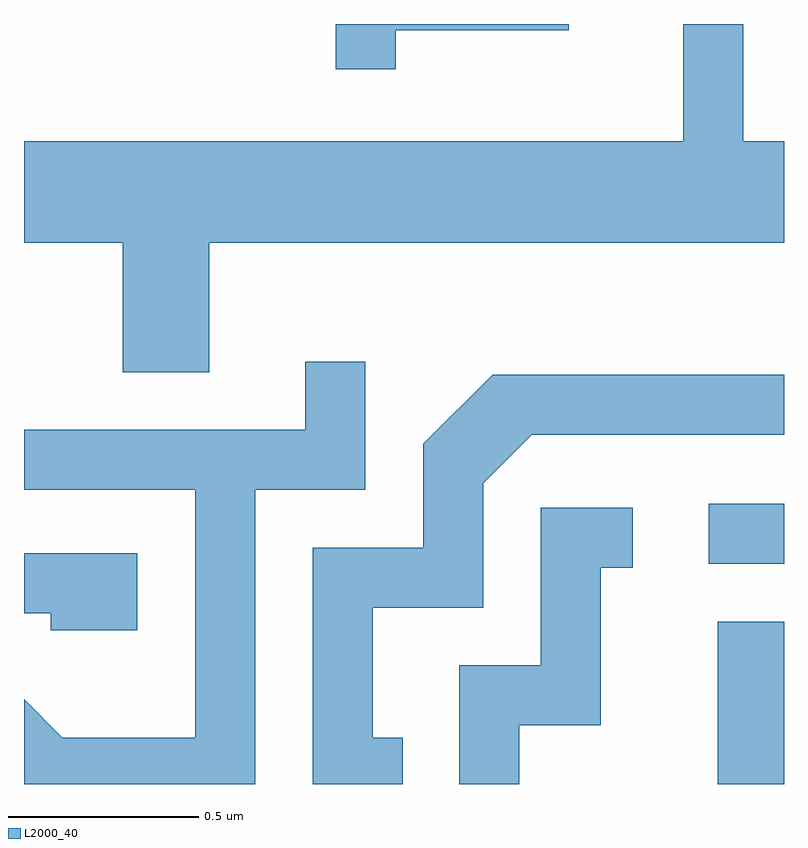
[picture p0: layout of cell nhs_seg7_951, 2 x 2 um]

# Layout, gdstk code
import gdstk
lib = gdstk.Library(unit=1e-6, precision=1e-09)
def R(c, l, rs):  # rectangles x0, y0, x1, y1
    for r in rs: c.add(gdstk.rectangle(r[:2], r[2:], *l))
def P(c, l, *ps):  # polygons
    for p in ps: c.add(gdstk.Polygon(p, *l))
L2000_40 = (2000, 40)

nhs_seg7_951 = lib.new_cell('nhs_seg7_951')
R(nhs_seg7_951, L2000_40, [(193.436,1797.252,193.611,1797.679), (193.413,1797.831,193.611,1797.989)])
P(nhs_seg7_951, L2000_40, [(192.099,1798.676),(193.611,1798.676),(193.611,1798.944),(193.504,1798.944),(193.504,1799.252),(193.346,1799.252),(193.346,1798.944),(191.611,1798.944),(191.611,1798.676),(191.871,1798.676),(191.871,1798.336),(192.099,1798.336)],
  [(192.589,1799.236),(193.044,1799.236),(193.044,1799.252),(192.431,1799.252),(192.431,1799.133),(192.589,1799.133)],
  [(192.219,1798.026),(192.509,1798.026),(192.509,1798.363),(192.351,1798.363),(192.351,1798.184),(191.611,1798.184),(191.611,1798.026),(192.061,1798.026),(192.061,1797.374),(191.712,1797.374),(191.611,1797.475),(191.611,1797.252),(192.219,1797.252)],
  [(192.608,1797.374),(192.529,1797.374),(192.529,1797.716),(192.819,1797.716),(192.819,1798.044),(192.947,1798.171),(193.611,1798.171),(193.611,1798.329),(192.844,1798.329),(192.661,1798.147),(192.661,1797.874),(192.371,1797.874),(192.371,1797.252),(192.608,1797.252)],
  [(192.914,1797.406),(193.129,1797.406),(193.129,1797.821),(193.213,1797.821),(193.213,1797.979),(192.971,1797.979),(192.971,1797.564),(192.756,1797.564),(192.756,1797.252),(192.914,1797.252)],
  [(191.909,1797.859),(191.611,1797.859),(191.611,1797.701),(191.681,1797.701),(191.681,1797.656),(191.909,1797.656)])

lib.write_gds('nhs_seg7_951.gds')
